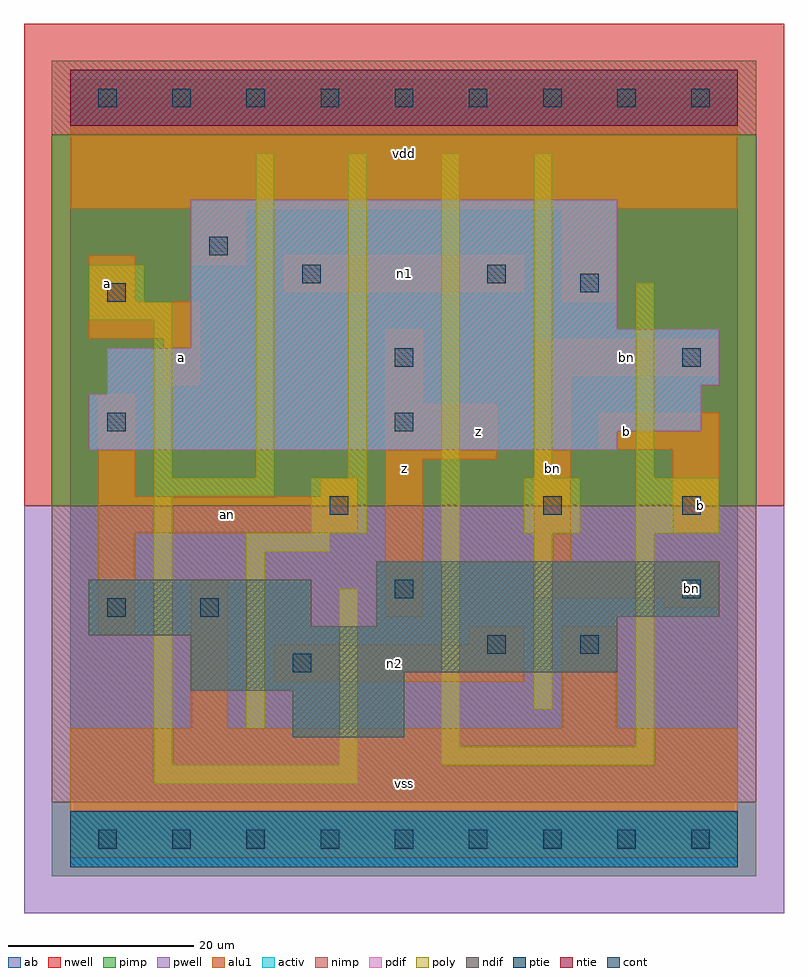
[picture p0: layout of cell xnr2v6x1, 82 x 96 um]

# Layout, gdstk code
import gdstk
lib = gdstk.Library(unit=1e-6, precision=1e-09)
def R(c, l, rs):  # rectangles x0, y0, x1, y1
    for r in rs: c.add(gdstk.rectangle(r[:2], r[2:], *l))
def A(c, l, x, y, w, h, nx, ny, dx, dy):  # array of equal rectangles
    R(c, l, [(x+i*dx, y+j*dy, x+i*dx+w, y+j*dy+h) for i in range(nx) for j in range(ny)])
ndif = (3, 0)
pdif = (4, 0)
ntie = (5, 0)
ptie = (6, 0)
cont = (25, 0)
pwell = (41, 0)
nwell = (42, 0)
activ = (43, 0)
pimp = (44, 0)
nimp = (45, 0)
poly = (46, 0)
alu1 = (49, 0)
ab = (63, 0)

xnr2v6x1 = lib.new_cell('xnr2v6x1')
R(xnr2v6x1, ndif, [(24,11,36,16), (13,16,36,18), (13,18,59,22), (2,22,59,23), (2,23,26,28), (33,23,59,24), (33,24,70,30)])
R(xnr2v6x1, pdif, [(2,42,59,44), (2,44,68,48), (4,48,68,49), (4,49,70,53), (13,53,70,55), (13,55,59,69)])
R(xnr2v6x1, ntie, [(0,77,72,83)])
R(xnr2v6x1, ptie, [(0,-3,72,3)])
A(xnr2v6x1, cont, 3, -1, 2, 2, 9, 2, 8, 80)
R(xnr2v6x1, cont, [(24,18,26,20), (45,20,47,22), (55,20,57,22), (4,24,6,26), (14,24,16,26), (35,26,37,28), (66,26,68,28), (28,35,30,37), (51,35,53,37), (66,35,68,37), (4,44,6,46), (35,44,37,46), (35,51,37,53), (66,51,68,53), (4,58,6,60), (55,59,57,61), (25,60,27,62), (45,60,47,62), (15,63,17,65)])
R(xnr2v6x1, pwell, [(-5,-8,77,36)])
R(xnr2v6x1, nwell, [(-5,36,77,88)])
R(xnr2v6x1, activ, [(0,-3,72,3), (24,11,36,16), (13,16,36,18), (13,18,59,22), (2,22,59,23), (2,23,26,28), (33,23,59,24), (33,24,70,30), (2,42,59,44), (2,44,68,48), (4,48,68,49), (4,49,70,53), (13,53,70,55), (13,55,59,69), (0,77,72,83)])
R(xnr2v6x1, pimp, [(-2,-4,74,4), (-2,36,74,76)])
R(xnr2v6x1, nimp, [(-2,4,74,36), (-2,76,74,84)])
R(xnr2v6x1, poly, [(9,6,31,8), (9,8,11,37), (29,8,31,27), (40,8,63,10), (40,10,42,74), (61,10,63,33), (19,12,21,31), (50,14,52,33), (19,31,28,33), (26,33,32,39), (49,33,55,39), (61,33,70,39), (9,37,22,39), (9,39,11,56), (20,39,22,74), (30,39,32,74), (50,39,52,74), (61,39,63,60), (2,56,11,58), (2,58,8,62)])
R(xnr2v6x1, alu1, [(0,-2,72,12), (13,12,17,28), (53,12,59,23), (22,17,49,21), (43,21,49,23), (3,22,7,33), (34,24,38,41), (64,25,70,26), (50,26,70,30), (50,30,54,50), (3,33,31,37), (65,33,70,42), (3,37,7,48), (27,37,31,39), (34,41,46,47), (57,42,70,46), (34,47,38,55), (10,49,14,54), (50,50,70,54), (2,54,14,58), (2,58,7,63), (53,58,59,68), (23,59,49,63), (13,62,19,68), (0,68,72,82)])
R(xnr2v6x1, ab, [(0,0,72,80)])
xnr2v6x1.add(gdstk.Label('an', (17,35), layer=49, texttype=0))
xnr2v6x1.add(gdstk.Label('n2', (35,19), layer=49, texttype=0))
xnr2v6x1.add(gdstk.Label('n1', (36,61), layer=49, texttype=0))
xnr2v6x1.add(gdstk.Label('bn', (67,27), layer=49, texttype=0))
xnr2v6x1.add(gdstk.Label('bn', (52,40), layer=49, texttype=0))
xnr2v6x1.add(gdstk.Label('bn', (60,52), layer=49, texttype=0))
xnr2v6x1.add(gdstk.Label('a', (12,52), layer=49, texttype=0))
xnr2v6x1.add(gdstk.Label('a', (4,60), layer=49, texttype=0))
xnr2v6x1.add(gdstk.Label('vss', (36,6), layer=49, texttype=0))
xnr2v6x1.add(gdstk.Label('z', (44,44), layer=49, texttype=0))
xnr2v6x1.add(gdstk.Label('z', (36,40), layer=49, texttype=0))
xnr2v6x1.add(gdstk.Label('vdd', (36,74), layer=49, texttype=0))
xnr2v6x1.add(gdstk.Label('b', (68,36), layer=49, texttype=0))
xnr2v6x1.add(gdstk.Label('b', (60,44), layer=49, texttype=0))

lib.write_gds('xnr2v6x1.gds')
